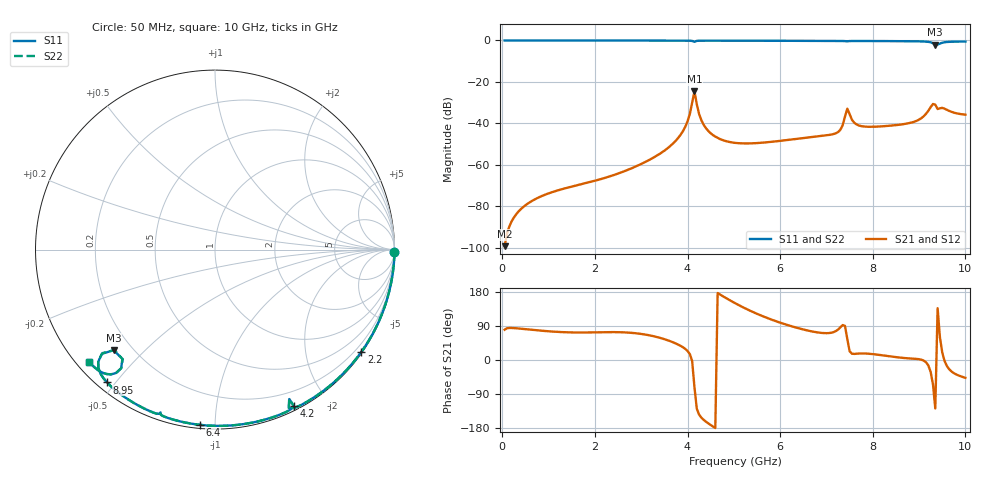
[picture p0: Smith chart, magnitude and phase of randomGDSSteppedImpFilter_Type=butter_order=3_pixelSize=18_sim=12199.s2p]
! freq	dB(S11)	phase(S11)	dB(S12)	phase(S12)
!  dB(S21)	phase(S21)	dB(S22)	phase(S22)
!S-par simulation data
#  GHz  S  DB  R 50
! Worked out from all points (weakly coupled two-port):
!   200 points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, 50 MHz to 10 GHz, reference 50 ohm
!   highest |S21| = -24.49 dB at 4.15 GHz (marker M1); lowest = -99.2 dB at 50 MHz (marker M2)
!   lowest |S11| = -2.0 dB at 9.35 GHz (marker M3), VSWR 8.80, Z = 6.63 - j20.3 ohm
!   |S11| at or under -10 dB: nowhere
!   |S22| runs from -2.0 to 0.0 dB; largest |S21 - S12| = 0
!   S11 on the Smith chart (normalised r, x): 50 MHz: open; 2.2 GHz: 0.03, -3.18; 4.2 GHz: 0.04, -1.62; 6.4 GHz: 0.02, -0.92; 8.95 GHz: 0.03, -0.48; 10 GHz: 0.04, -0.38
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0.05  -0.00 -0.8  -99.19 79.9  -99.19 79.9  -0.00 -0.8
0.45  -0.01 -7.3  -80.34 82.0  -80.34 82.0  -0.01 -7.3
1.75  -0.04 -27.9  -69.08 72.5  -69.08 72.5  -0.04 -27.9
2.2  -0.04 -34.9  -66.38 73.4  -66.38 73.4  -0.04 -35.0
3.4  -0.07 -53.2  -54.66 58.6  -54.66 58.6  -0.07 -53.2
3.9  -0.09 -60.8  -43.75 33.7  -43.75 33.7  -0.09 -60.9
4.05  -0.13 -63.6  -35.44 15.5  -35.44 15.5  -0.13 -63.6
4.15  -0.63 -63.6  -24.49 -72.4  -24.49 -72.4  -0.64 -63.6
4.2  -0.21 -63.3  -30.79 -128.6  -30.79 -128.6  -0.21 -63.3
4.3  -0.11 -65.6  -38.53 -152.3  -38.53 -152.3  -0.11 -65.6
4.45  -0.10 -68.0  -43.68 -167.4  -43.68 -167.4  -0.10 -68.0
5.05  -0.12 -76.7  -49.43 148.4  -49.43 148.4  -0.12 -76.7
6.4  -0.18 -95.0  -47.34 83.7  -47.34 83.7  -0.18 -95.0
6.7  -0.19 -99.0  -46.53 75.0  -46.53 75.0  -0.19 -99.0
7.25  -0.24 -106.3  -44.18 80.3  -44.18 80.3  -0.24 -106.3
7.35  -0.26 -107.7  -40.86 92.2  -40.86 92.2  -0.26 -107.8
7.45  -0.39 -108.5  -32.88 55.3  -32.88 55.3  -0.39 -108.5
7.7  -0.26 -111.7  -41.00 17.1  -41.00 17.1  -0.26 -111.8
8.35  -0.31 -120.3  -41.15 10.0  -41.15 10.0  -0.31 -120.4
8.95  -0.41 -129.1  -38.71 2.8  -38.71 2.8  -0.41 -129.2
9.35  -1.98 -135.2  -30.95 -127.9  -30.95 -127.9  -2.02 -135.0
10  -0.53 -138.1  -35.79 -47.0  -35.79 -47.0  -0.53 -138.2
